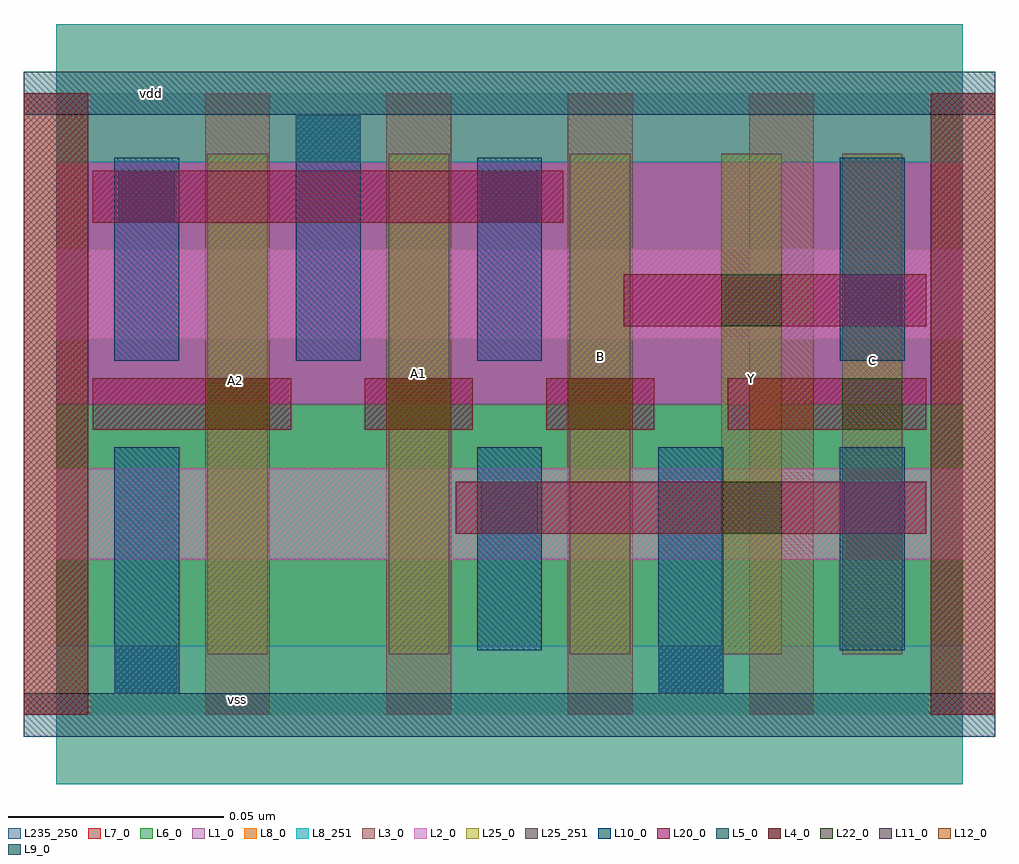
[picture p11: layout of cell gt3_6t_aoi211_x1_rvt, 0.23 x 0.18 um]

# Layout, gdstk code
import gdstk
lib = gdstk.Library(unit=1e-6, precision=5e-10)
def R(c, l, rs):  # rectangles x0, y0, x1, y1
    for r in rs: c.add(gdstk.rectangle(r[:2], r[2:], *l))
def A(c, l, x, y, w, h, nx, ny, dx, dy):  # array of equal rectangles
    R(c, l, [(x+i*dx, y+j*dy, x+i*dx+w, y+j*dy+h) for i in range(nx) for j in range(ny)])
L1_0 = (1, 0)
L2_0 = (2, 0)
L3_0 = (3, 0)
L4_0 = (4, 0)
L5_0 = (5, 0)
L6_0 = (6, 0)
L7_0 = (7, 0)
L8_0 = (8, 0)
L8_251 = (8, 251)
L9_0 = (9, 0)
L10_0 = (10, 0)
L11_0 = (11, 0)
L12_0 = (12, 0)
L20_0 = (20, 0)
L22_0 = (22, 0)
L25_0 = (25, 0)
L25_251 = (25, 251)
L235_250 = (235, 250)

gt3_6t_aoi211_x1_rvt = lib.new_cell('gt3_6t_aoi211_x1_rvt')
R(gt3_6t_aoi211_x1_rvt, L1_0, [(0,0.072,0.21,0.144)])
R(gt3_6t_aoi211_x1_rvt, L2_0, [(0,0.036,0.21,0.057), (0,0.087,0.21,0.108)])
A(gt3_6t_aoi211_x1_rvt, L3_0, -0.0075, 0, 0.015, 0.144, 6, 1, 0.042, 0)
R(gt3_6t_aoi211_x1_rvt, L4_0, [(-0.0075,0,0.0075,0.144), (0.2025,0,0.2175,0.144)])
R(gt3_6t_aoi211_x1_rvt, L5_0, [(-0.0075,-0.005,0.2175,0.005), (-0.0075,0.139,0.2175,0.149)])
R(gt3_6t_aoi211_x1_rvt, L6_0, [(0,0,0.21,0.072)])
R(gt3_6t_aoi211_x1_rvt, L7_0, [(0,0.072,0.21,0.144)])
R(gt3_6t_aoi211_x1_rvt, L8_0, [(0,-0.016,0.21,0.016), (0,0.128,0.21,0.16)])
R(gt3_6t_aoi211_x1_rvt, L8_251, [(0,-0.016,0.21,0.016), (0,0.128,0.21,0.16)])
R(gt3_6t_aoi211_x1_rvt, L9_0, [(0.0135,0.005,0.0285,0.016), (0.1395,0.005,0.1545,0.016), (0.0555,0.128,0.0705,0.139)])
A(gt3_6t_aoi211_x1_rvt, L10_0, 0.0135, 0.082, 0.015, 0.047, 3, 1, 0.084, 0)
R(gt3_6t_aoi211_x1_rvt, L10_0, [(0.0135,0.005,0.0285,0.062), (0.1395,0.005,0.1545,0.062), (0.0975,0.015,0.1125,0.062), (0.1815,0.015,0.1965,0.062), (0.0555,0.082,0.0705,0.139)])
R(gt3_6t_aoi211_x1_rvt, L11_0, [(0.0985,0.042,0.1115,0.054), (0.1825,0.042,0.1955,0.054), (0.1825,0.09,0.1955,0.102), (0.0145,0.114,0.0275,0.126), (0.0985,0.114,0.1115,0.126)])
A(gt3_6t_aoi211_x1_rvt, L12_0, 0.0345, 0.066, 0.015, 0.012, 4, 1, 0.042, 0)
R(gt3_6t_aoi211_x1_rvt, L20_0, [(0.0925,0.042,0.2015,0.054), (0.0085,0.066,0.0545,0.078), (0.0715,0.066,0.0965,0.078), (0.1135,0.066,0.1385,0.078), (0.1555,0.066,0.2015,0.078), (0.1315,0.09,0.2015,0.102), (0.0085,0.114,0.1175,0.126)])
A(gt3_6t_aoi211_x1_rvt, L22_0, 0.035, 0.066, 0.014, 0.012, 3, 1, 0.042, 0)
R(gt3_6t_aoi211_x1_rvt, L22_0, [(0.154,0.042,0.168,0.054), (0.182,0.066,0.196,0.078), (0.154,0.09,0.168,0.102)])
A(gt3_6t_aoi211_x1_rvt, L25_0, 0.035, 0.014, 0.014, 0.116, 3, 1, 0.042, 0)
R(gt3_6t_aoi211_x1_rvt, L25_0, [(0.154,0.014,0.168,0.13), (0.182,0.014,0.196,0.13)])
A(gt3_6t_aoi211_x1_rvt, L25_251, 0.035, 0.014, 0.014, 0.116, 3, 1, 0.042, 0)
R(gt3_6t_aoi211_x1_rvt, L25_251, [(0.154,0.014,0.168,0.13), (0.182,0.014,0.196,0.13)])
R(gt3_6t_aoi211_x1_rvt, L235_250, [(0,0,0.21,0.144)])
gt3_6t_aoi211_x1_rvt.add(gdstk.Label('vss', (0.042,0.0035), layer=8, texttype=251))
gt3_6t_aoi211_x1_rvt.add(gdstk.Label('vdd', (0.022,0.144), layer=8, texttype=251))
gt3_6t_aoi211_x1_rvt.add(gdstk.Label('C', (0.189,0.082), layer=25, texttype=251))
gt3_6t_aoi211_x1_rvt.add(gdstk.Label('A1', (0.084,0.079), layer=25, texttype=251))
gt3_6t_aoi211_x1_rvt.add(gdstk.Label('A2', (0.0415,0.0775), layer=25, texttype=251))
gt3_6t_aoi211_x1_rvt.add(gdstk.Label('B', (0.126,0.083), layer=25, texttype=251))
gt3_6t_aoi211_x1_rvt.add(gdstk.Label('Y', (0.161,0.078), layer=25, texttype=251))

lib.write_gds('gt3_6t_aoi211_x1_rvt.gds')
